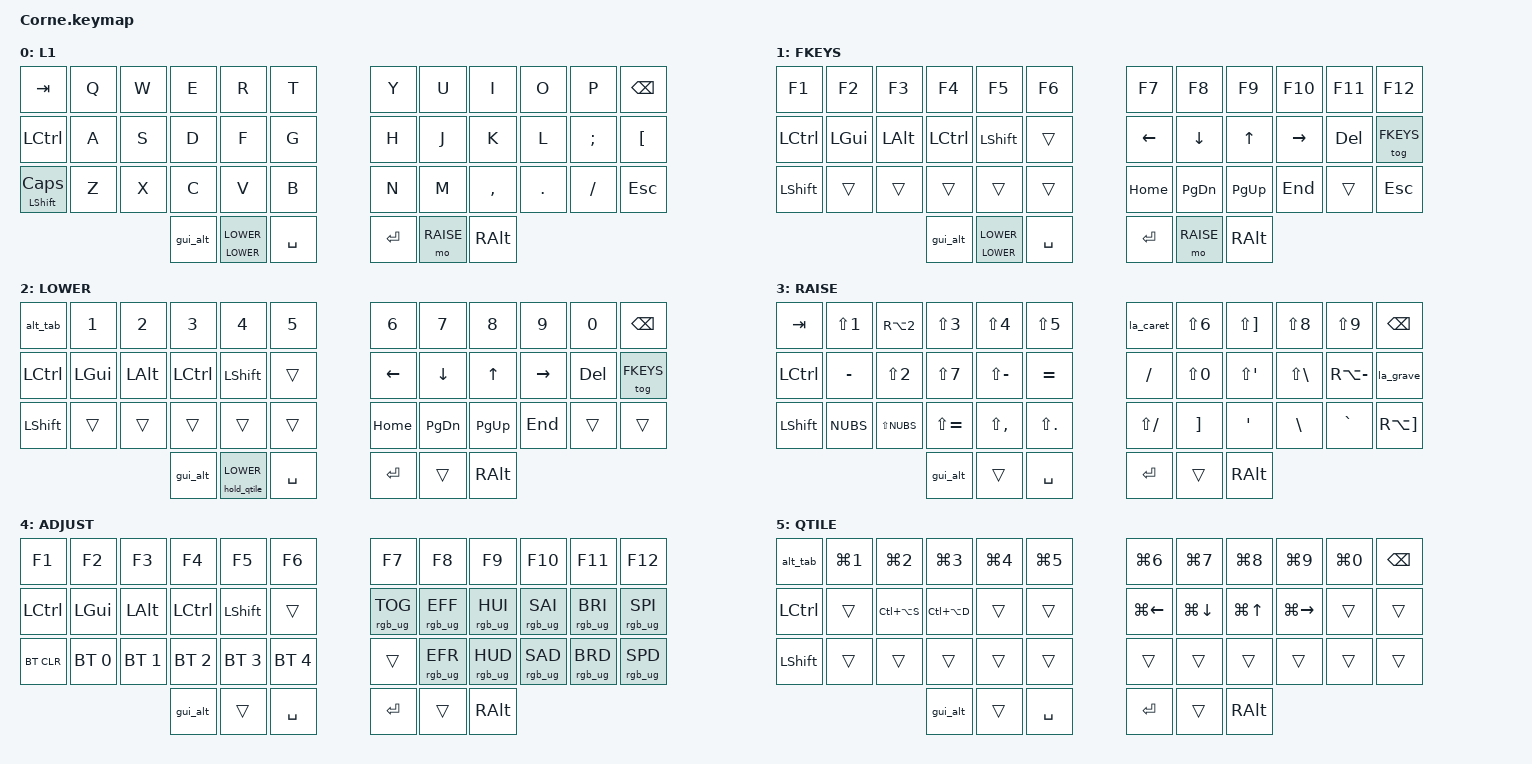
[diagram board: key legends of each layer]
/*
 * Copyright (c) 2020 The ZMK Contributors
 *
 * SPDX-License-Identifier: MIT
 */

#include <behaviors.dtsi>
#include <dt-bindings/zmk/keys.h>
#include <dt-bindings/zmk/bt.h>
#include <dt-bindings/zmk/rgb.h>

// Layer indices. Higher index wins when several layers are active.
#define L1     0
#define FKEYS  1
#define LOWER  2
#define RAISE  3
#define ADJUST 4
#define QTILE  5

/ {
        conditional_layers {
                compatible = "zmk,conditional-layers";
                tri_layer {
                        if-layers = <LOWER RAISE>;
                        then-layer = <ADJUST>;
                };
        };

        behaviors {
                // Hold: Shift. Tap alone: Caps Lock.
                shift_caps: shift_caps {
                        compatible = "zmk,behavior-hold-tap";
                        #binding-cells = <2>;
                        flavor = "hold-preferred";
                        tapping-term-ms = <200>;
                        bindings = <&kp>, <&kp>;
                };
                // Hold LWR on L1 = instant LOWER layer. Tap LWR alone on L1 = lock LOWER (Num Lock).
                lower_lock: lower_lock {
                        compatible = "zmk,behavior-hold-tap";
                        #binding-cells = <2>;
                        flavor = "hold-preferred";
                        tapping-term-ms = <200>;
                        bindings = <&mo>, <&tog>;
                };
                // On LOWER layer: Hold LWR (2nd press held after 1st tap) = hold QTILE and exit LOWER on release. Tap LWR alone = unlock Num Lock.
                lwr_in_lower: lwr_in_lower {
                        compatible = "zmk,behavior-hold-tap";
                        #binding-cells = <2>;
                        flavor = "hold-preferred";
                        tapping-term-ms = <200>;
                        bindings = <&hold_qtile>, <&tog>;
                };
                // Tap-dance on left thumb GUI: 1x hold/tap = LGUI, 2x hold/tap = LALT.
                gui_alt: gui_alt {
                        compatible = "zmk,behavior-tap-dance";
                        #binding-cells = <0>;
                        tapping-term-ms = <350>;
                        bindings = <&kp LGUI>, <&kp LALT>;
                };
        };

        // Latam has no plain ^ or ` key, only dead keys: tap them followed by space.
        macros {
                la_caret: la_caret {
                        compatible = "zmk,behavior-macro";
                        #binding-cells = <0>;
                        bindings = <&kp RA(SQT) &kp SPACE>;
                };
                la_grave: la_grave {
                        compatible = "zmk,behavior-macro";
                        #binding-cells = <0>;
                        bindings = <&kp RA(BSLH) &kp SPACE>;
                };
                alt_tab: alt_tab {
                        compatible = "zmk,behavior-macro";
                        #binding-cells = <0>;
                        wait-ms = <0>;
                        tap-ms = <30>;
                        bindings
                                = <&macro_press &kp LALT>
                                , <&macro_tap &kp TAB>
                                , <&macro_pause_for_release>
                                , <&macro_release &kp LALT>
                                ;
                };
                // Holds QTILE while key is pressed, then releases QTILE and turns off LOWER on release.
                hold_qtile: hold_qtile {
                        compatible = "zmk,behavior-macro";
                        #binding-cells = <0>;
                        wait-ms = <0>;
                        tap-ms = <0>;
                        bindings
                                = <&macro_press &mo QTILE>
                                , <&macro_pause_for_release>
                                , <&macro_release &mo QTILE>
                                , <&macro_tap &tog LOWER>
                                ;
                };
        };

        keymap {
                compatible = "zmk,keymap";

                l1_layer {
// L1: Latin American base layout. Expects the OS keyboard layout set to latam.
// ACUT is the dead acute accent (tap it, then the vowel).
// -----------------------------------------------------------------------------------------
// |  TAB |  Q  |  W  |  E  |  R  |  T  |   |  Y  |  U   |  I  |  O  |  P  | BKSP |
// | CTRL |  A  |  S  |  D  |  F  |  G  |   |  H  |  J   |  K  |  L  |  N~ | ACUT |
// | SFCP |  Z  |  X  |  C  |  V  |  B  |   |  N  |  M   |  ,  |  .  |  -  | ESC  |
//                    | GUI | LWR | SPC |   | ENT | RSE  | ALT |
// SFCP: hold = Shift, tap = Caps Lock. LWR: hold = LOWER, 1x tap = Num Lock, tap+hold = QTILE.
                        bindings = <
   &kp TAB   &kp Q &kp W &kp E &kp R &kp T   &kp Y &kp U  &kp I     &kp O   &kp P    &kp BSPC
   &kp LCTRL &kp A &kp S &kp D &kp F &kp G   &kp H &kp J  &kp K     &kp L   &kp SEMI &kp LBKT
   &shift_caps LSHFT CAPS &kp Z &kp X &kp C &kp V &kp B   &kp N &kp M  &kp COMMA &kp DOT &kp FSLH &kp ESC
                  &gui_alt &lower_lock LOWER LOWER &kp SPACE   &kp RET &mo RAISE &kp RALT
                        >;
                display-name = "L1";
                };

                fkeys_layer {
// Function keys layer (replaces old US layer). Toggled with Lower + ACUT (FN).
// -----------------------------------------------------------------------------------------
// |  F1  |  F2 |  F3 |  F4 |  F5 |  F6 |   |  F7 |  F8 |  F9 | F10 | F11 | F12  |
// | CTRL | GUI | ALT | CTRL| SHFT|     |   | LFT | DWN |  UP | RGT | DEL |  FN  |
// | SHFT |     |     |     |     |     |   | HOME| PGDN| PGUP| END |     | ESC  |
//                    | GUI | LWR | SPC |   | ENT | RSE | ALT |
                        bindings = <
   &kp F1    &kp F2   &kp F3   &kp F4    &kp F5    &kp F6      &kp F7   &kp F8    &kp F9    &kp F10   &kp F11 &kp F12
   &kp LCTRL &kp LGUI &kp LALT &kp LCTRL &kp LSHFT &trans      &kp LEFT &kp DOWN  &kp UP    &kp RIGHT &kp DEL &tog FKEYS
   &kp LSHFT &trans   &trans   &trans    &trans    &trans      &kp HOME &kp PG_DN &kp PG_UP &kp END   &trans  &kp ESC
                               &gui_alt  &lower_lock LOWER LOWER &kp SPACE   &kp RET  &mo RAISE &kp RALT
                        >;
                display-name = "FKEYS";
                };

                lower_layer {
// Numbers and navigation. FN toggles FKEYS layer.
// When LOWER is locked (via 1x tap on LWR), tapping LWR unlocks it, or holding LWR enters QTILE.
// -----------------------------------------------------------------------------------------
// | ATAB |  1  |  2  |  3  |  4  |  5  |   |  6  |  7   |  8   |  9  |  0  | BKSP |
// | CTRL | GUI | ALT | CTRL| SHFT|     |   | LFT | DWN  |  UP  | RGT | DEL |  FN  |
// | SHFT |     |     |     |     |     |   | HOME| PGDN | PGUP | END |     |      |
//                    | GUI | QTL | SPC |   | ENT |      | ALT  |
                        bindings = <
   &alt_tab  &kp N1   &kp N2   &kp N3    &kp N4    &kp N5      &kp N6   &kp N7    &kp N8    &kp N9    &kp N0  &kp BSPC
   &kp LCTRL &kp LGUI &kp LALT &kp LCTRL &kp LSHFT &trans      &kp LEFT &kp DOWN  &kp UP    &kp RIGHT &kp DEL &tog FKEYS
   &kp LSHFT &trans   &trans   &trans    &trans    &trans      &kp HOME &kp PG_DN &kp PG_UP &kp END   &trans  &trans
                               &gui_alt  &lwr_in_lower 0 LOWER &kp SPACE   &kp RET  &trans    &kp RALT
                        >;
                display-name = "LOWER";
                };

                raise_layer {
// Symbols encoded for the latam OS layout.
// -----------------------------------------------------------------------------------------
// |  TAB |  !  |  @  |  #  |  $  |  %  |   |  ^  |  &  |  *  |  (  |  )  | BKSP |
// | CTRL |  '  |  "  |  /  |  ?  | INVQ|   |  -  |  =  |  [  |  ]  |  \  |  `   |
// | SHFT |  <  |  >  | INVE|  ;  |  :  |   |  _  |  +  |  {  |  }  | "|" |  ~   |
//                    | GUI |     | SPC |   | ENT |     | ALT |
// INVQ = inverted question mark, INVE = inverted exclamation mark.
                        bindings = <
   &kp TAB   &kp LS(N1) &kp RA(N2)    &kp LS(N3)     &kp LS(N4)     &kp LS(N5)      &la_caret     &kp LS(N6) &kp LS(RBKT) &kp LS(N8)  &kp LS(N9)  &kp BSPC
   &kp LCTRL &kp MINUS  &kp LS(N2)    &kp LS(N7)     &kp LS(MINUS)  &kp EQUAL       &kp FSLH      &kp LS(N0) &kp LS(SQT)  &kp LS(BSLH) &kp RA(MINUS) &la_grave
   &kp LSHFT &kp NUBS   &kp LS(NUBS)  &kp LS(EQUAL)  &kp LS(COMMA)  &kp LS(DOT)     &kp LS(FSLH)  &kp RBKT   &kp SQT      &kp BSLH    &kp GRAVE   &kp RA(RBKT)
                                      &gui_alt       &trans         &kp SPACE       &kp RET       &trans     &kp RALT
                        >;
                display-name = "RAISE";
                };

                adjust_layer {
// Active when holding both LOWER and RAISE (via conditional_layers).
// -----------------------------------------------------------------------------------------
// |  F1  |  F2 |  F3 |  F4 |  F5 |  F6 |   |  F7 |  F8 |  F9 | F10 | F11 | F12  |
// | CTRL | GUI | ALT | CTRL| SHFT|     |   | RGB | EFF | HUI | SAI | BRI | SPI  |
// | BTCLR| BT1 | BT2 | BT3 | BT4 | BT5 |   |     | EFR | HUD | SAD | BRD | SPD  |
//                    | GUI |     | SPC |   | ENT |     | ALT |
                        bindings = <
   &kp F1     &kp F2       &kp F3       &kp F4       &kp F5       &kp F6         &kp F7          &kp F8          &kp F9          &kp F10         &kp F11         &kp F12
   &kp LCTRL  &kp LGUI     &kp LALT     &kp LCTRL    &kp LSHFT    &trans         &rgb_ug RGB_TOG &rgb_ug RGB_EFF &rgb_ug RGB_HUI &rgb_ug RGB_SAI &rgb_ug RGB_BRI &rgb_ug RGB_SPI
   &bt BT_CLR &bt BT_SEL 0 &bt BT_SEL 1 &bt BT_SEL 2 &bt BT_SEL 3 &bt BT_SEL 4   &trans          &rgb_ug RGB_EFR &rgb_ug RGB_HUD &rgb_ug RGB_SAD &rgb_ug RGB_BRD &rgb_ug RGB_SPD
                                        &gui_alt     &trans       &kp SPACE      &kp RET         &trans          &kp RALT
                        >;
                display-name = "ADJUST";
                };

                qtile_layer {
// Activated via tap-then-hold on LWR. Sends GUI+number for Qtile groups.
// Hold SHFT on the left pinky while tapping a group to move the focused window (GUI+Shift+N).
// -----------------------------------------------------------------------------------------
// | ATAB | WS1 | WS2  | WS3  | WS4 | WS5 |   | WS6 | WS7  | WS8  | WS9  | WS0 | BKSP |
// | CTRL |     | C+A+S| C+A+D|     |     |   | GLFT| GDWN | GUP  | GRGT |     |      |
// | SHFT |     |      |      |     |     |   |     |      |      |      |     |      |
//                    | GUI |     | SPC |   | ENT |      | ALT  |
                        bindings = <
   &alt_tab  &kp LG(N1) &kp LG(N2)    &kp LG(N3)    &kp LG(N4) &kp LG(N5)   &kp LG(N6)   &kp LG(N7)   &kp LG(N8) &kp LG(N9)    &kp LG(N0) &kp BSPC
   &kp LCTRL &trans     &kp LC(LA(S)) &kp LC(LA(D)) &trans     &trans       &kp LG(LEFT) &kp LG(DOWN) &kp LG(UP) &kp LG(RIGHT) &trans     &trans
   &kp LSHFT &trans     &trans        &trans        &trans     &trans       &trans       &trans       &trans     &trans        &trans     &trans
                                      &gui_alt      &trans     &kp SPACE    &kp RET      &trans       &kp RALT
                        >;
                display-name = "QTILE";
                };

        extra1 { status = "reserved"; };

        extra2 { status = "reserved"; };

        extra3 { status = "reserved"; };

        extra4 { status = "reserved"; };

        extra5 { status = "reserved"; };
        };
};
